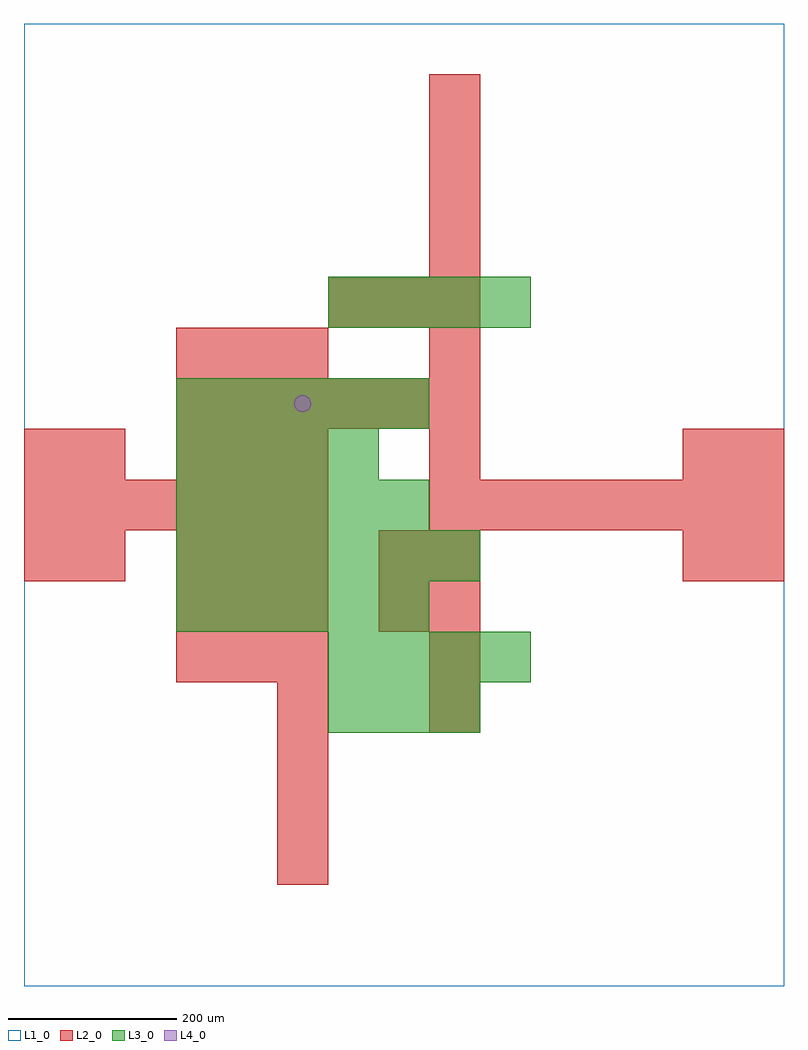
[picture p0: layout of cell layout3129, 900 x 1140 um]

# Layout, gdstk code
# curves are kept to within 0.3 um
import gdstk
lib = gdstk.Library(unit=1e-6, precision=1e-09)
def R(c, l, rs):  # rectangles x0, y0, x1, y1
    for r in rs: c.add(gdstk.rectangle(r[:2], r[2:], *l))
def A(c, l, x, y, w, h, nx, ny, dx, dy):  # array of equal rectangles
    R(c, l, [(x+i*dx, y+j*dy, x+i*dx+w, y+j*dy+h) for i in range(nx) for j in range(ny)])
def P(c, l, *ps):  # polygons
    for p in ps: c.add(gdstk.Polygon(p, *l))
L1_0 = (1, 0)
L2_0 = (2, 0)
L3_0 = (3, 0)
L4_0 = (4, 0)

layout3129 = lib.new_cell('layout3129')
R(layout3129, L1_0, [(0,0,900,1140)])
A(layout3129, L2_0, 300, 120, 60, 60, 1, 4, 0, 60)
A(layout3129, L2_0, 480, 300, 60, 60, 1, 4, 0, 60)
A(layout3129, L2_0, 180, 360, 60, 60, 3, 3, 60, 60)
A(layout3129, L2_0, 0, 540, 60, 60, 6, 1, 60, 0)
A(layout3129, L2_0, 480, 540, 60, 60, 7, 1, 60, 0)
A(layout3129, L2_0, 180, 600, 60, 60, 3, 2, 60, 120)
A(layout3129, L2_0, 480, 600, 60, 60, 1, 3, 0, 120)
A(layout3129, L2_0, 180, 660, 60, 60, 6, 1, 60, 0)
A(layout3129, L2_0, 360, 780, 60, 60, 3, 1, 60, 0)
A(layout3129, L2_0, 480, 900, 60, 60, 1, 3, 0, 60)
R(layout3129, L2_0, [(420,420,480,480), (0,480,60,540), (60,480,120,540), (420,480,480,540), (780,480,840,540), (840,480,900,540), (0,600,60,660), (60,600,120,660), (780,600,840,660), (840,600,900,660)])
A(layout3129, L3_0, 360, 300, 60, 60, 3, 1, 60, 0)
A(layout3129, L3_0, 360, 360, 60, 60, 4, 2, 60, 420)
A(layout3129, L3_0, 180, 420, 60, 60, 5, 3, 60, 120)
A(layout3129, L3_0, 180, 480, 60, 60, 6, 1, 60, 0)
A(layout3129, L3_0, 180, 600, 60, 60, 4, 1, 60, 0)
P(layout3129, L4_0, [(340,690),(339.239,693.827),(337.071,697.071),(333.827,699.239),(330,700),(326.173,699.239),(322.929,697.071),(320.761,693.827),(320,690),(320.761,686.173),(322.929,682.929),(326.173,680.761),(330,680),(333.827,680.761),(337.071,682.929),(339.239,686.173)])

lib.write_gds('layout3129.gds')
